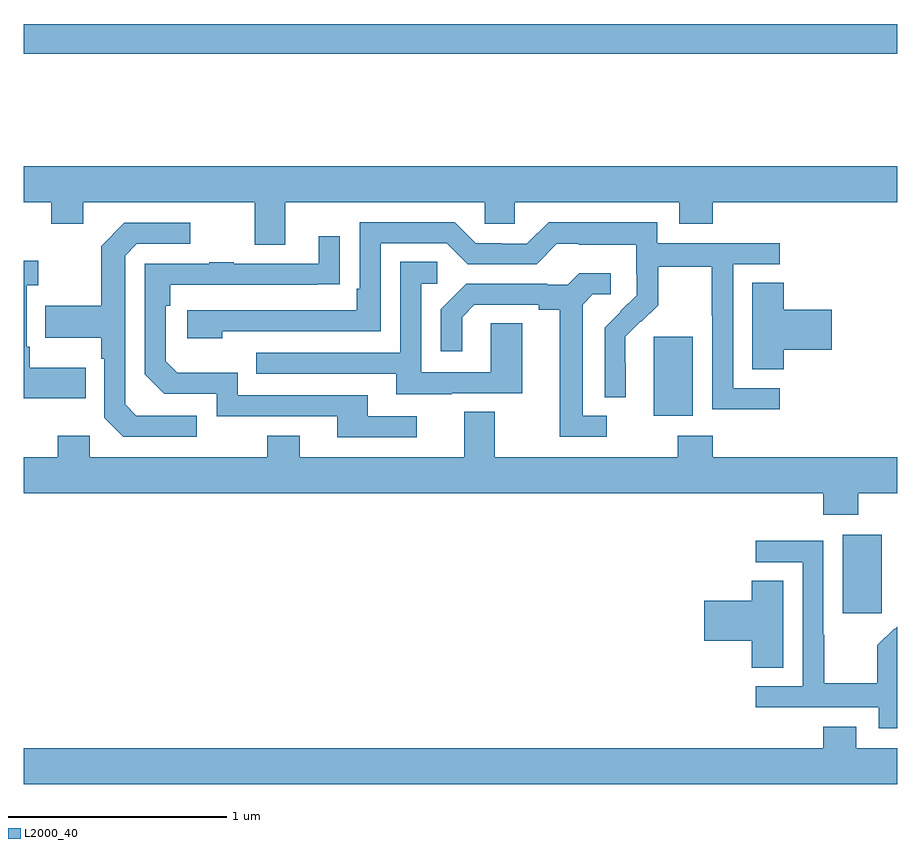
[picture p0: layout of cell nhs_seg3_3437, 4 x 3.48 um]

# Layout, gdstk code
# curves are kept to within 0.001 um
import gdstk
lib = gdstk.Library(unit=1e-6, precision=1e-09)
def R(c, l, rs):  # rectangles x0, y0, x1, y1
    for r in rs: c.add(gdstk.rectangle(r[:2], r[2:], *l))
def P(c, l, *ps):  # polygons
    for p in ps: c.add(gdstk.Polygon(p, *l))
L2000_40 = (2000, 40)

nhs_seg3_3437 = lib.new_cell('nhs_seg3_3437')
R(nhs_seg3_3437, L2000_40, [(292.751,717.681,292.93,718.042), (291.884,718.586,292.063,718.947), (289,720.244,293,720.38)])
P(nhs_seg3_3437, L2000_40, [(290.197,719.564),(291.111,719.564),(291.111,719.466),(291.249,719.466),(291.249,719.564),(292.001,719.564),(292.001,719.465),(292.154,719.465),(292.154,719.564),(293,719.564),(293,719.728),(289,719.728),(289,719.564),(289.126,719.564),(289.126,719.465),(289.273,719.465),(289.273,719.564),(290.057,719.564),(290.057,719.37),(290.197,719.37)],
  [(292.462,718.713),(292.248,718.713),(292.248,719.28),(292.462,719.28),(292.462,719.376),(291.9,719.376),(291.9,719.473),(291.403,719.473),(291.303,719.373),(291.188,719.373),(291.188,719.376),(291.069,719.376),(290.973,719.472),(290.538,719.472),(290.538,719.167),(290.525,719.167),(290.525,719.07),(289.749,719.07),(289.749,718.94),(289.91,718.94),(289.91,718.974),(290.634,718.974),(290.634,719.376),(290.937,719.376),(291.033,719.28),(291.348,719.28),(291.441,719.373),(291.541,719.373),(291.541,719.369),(291.804,719.369),(291.804,719.235),(291.806,719.235),(291.806,719.138),(291.66,718.99),(291.66,718.672),(291.756,718.672),(291.755,718.949),(291.825,719.019),(291.828,719.016),(291.905,719.093),(291.905,719.268),(292.15,719.268),(292.15,719.044),(292.152,719.044),(292.152,718.615),(292.462,718.615)],
  [(289.792,718.587),(289.515,718.587),(289.464,718.638),(289.464,719.319),(289.518,719.373),(289.762,719.373),(289.762,719.469),(289.461,719.469),(289.356,719.363),(289.356,719.091),(289.099,719.091),(289.099,718.943),(289.356,718.943),(289.356,718.847),(289.368,718.847),(289.368,718.578),(289.455,718.491),(289.792,718.491)],
  [(290.8,718.584),(290.575,718.584),(290.575,718.68),(289.98,718.68),(289.98,718.783),(289.703,718.783),(289.65,718.836),(289.65,719.09),(289.67,719.09),(289.67,719.187),(290.447,719.188),(290.447,719.407),(290.351,719.407),(290.351,719.283),(289.961,719.283),(289.961,719.288),(289.849,719.288),(289.849,719.283),(289.554,719.283),(289.554,718.776),(289.644,718.686),(289.884,718.686),(289.884,718.584),(290.435,718.584),(290.435,718.488),(290.8,718.488)],
  [(289.283,718.807),(289.027,718.807),(289.027,718.903),(289.014,718.903),(289.014,719.183),(289.066,719.183),(289.066,719.296),(289,719.296),(289,718.667),(289.283,718.667)],
  [(290.959,718.689),(291.283,718.689),(291.283,719.009),(291.138,719.009),(291.138,718.785),(290.82,718.785),(290.82,719.19),(290.893,719.19),(290.893,719.291),(290.724,719.291),(290.724,718.875),(290.065,718.875),(290.065,718.779),(290.705,718.779),(290.705,718.685),(290.959,718.685)],
  [(291.67,718.587),(291.559,718.587),(291.559,719.095),(291.606,719.142),(291.688,719.142),(291.688,719.239),(291.544,719.239),(291.492,719.187),(291.398,719.187),(291.398,719.19),(291.026,719.19),(290.91,719.074),(290.91,718.881),(291.007,718.881),(291.007,719.037),(291.064,719.094),(291.359,719.094),(291.359,719.072),(291.455,719.072),(291.455,718.491),(291.67,718.491)],
  [(292.481,718.889),(292.699,718.889),(292.699,719.072),(292.481,719.072),(292.481,719.195),(292.337,719.195),(292.337,718.798),(292.481,718.798)],
  [(292.821,718.232),(293,718.232),(293,718.396),(292.154,718.396),(292.154,718.495),(291.994,718.495),(291.994,718.396),(291.157,718.396),(291.157,718.604),(291.017,718.604),(291.017,718.396),(290.263,718.396),(290.263,718.495),(290.116,718.495),(290.116,718.396),(289.302,718.396),(289.302,718.495),(289.156,718.495),(289.156,718.396),(289,718.396),(289,718.232),(292.661,718.232),(292.661,718.133),(292.821,718.133)],
  [(293,717.62),(292.989,717.609),(292.986,717.612),(292.909,717.535),(292.909,717.361),(292.665,717.361),(292.665,717.584),(292.662,717.584),(292.662,718.014),(292.353,718.014),(292.353,717.915),(292.566,717.915),(292.566,717.348),(292.353,717.348),(292.353,717.252),(292.914,717.252),(292.914,717.155),(293,717.155)],
  [(292.477,717.83),(292.334,717.83),(292.334,717.74),(292.116,717.74),(292.116,717.557),(292.334,717.557),(292.334,717.433),(292.477,717.433)],
  [(293,717.064),(292.813,717.064),(292.813,717.163),(292.661,717.163),(292.661,717.064),(289,717.064),(289,716.9),(293,716.9)])

lib.write_gds('nhs_seg3_3437.gds')
